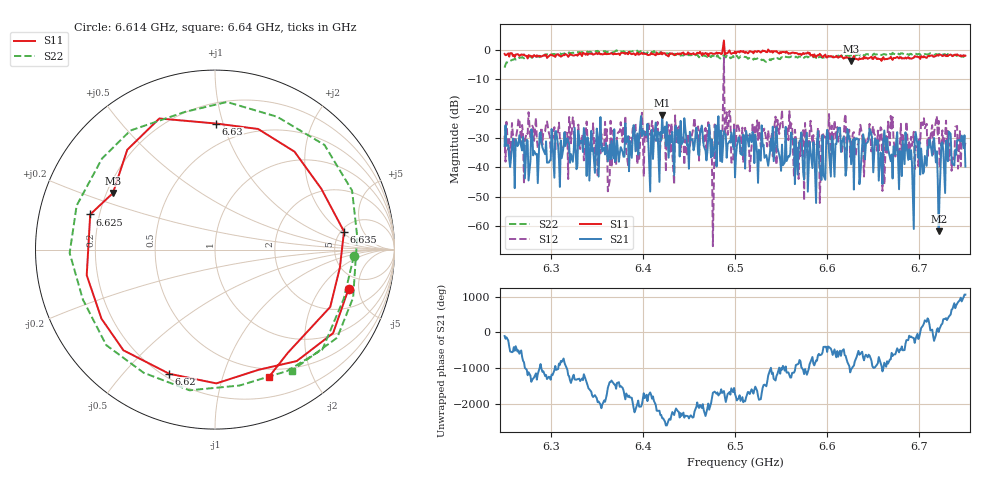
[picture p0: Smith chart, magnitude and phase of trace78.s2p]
# Hz S RI R 50
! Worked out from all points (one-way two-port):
!   401 points, 6.25 GHz to 6.75 GHz, reference 50 ohm
!   highest |S21| = -22.21 dB at 6.421 GHz (marker M1); lowest = -61.8 dB at 6.721 GHz (marker M2)
!   lowest |S11| = -3.7 dB at 6.626 GHz (marker M3), VSWR 4.71, Z = 11.3 + j12.3 ohm
!   |S11| at or under -10 dB: nowhere
!   |S22| runs from -6.0 to -0.1 dB; largest |S21 - S12| = 0.7
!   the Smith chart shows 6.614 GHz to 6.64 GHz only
!   S11 on the Smith chart (normalised r, x): 6.614 GHz: 3.53, -3.86; 6.62 GHz: 0.22, -0.67; 6.625 GHz: 0.16, +0.13; 6.63 GHz: 0.34, +0.95; 6.635 GHz: 5.30, +2.26; 6.64 GHz: 0.41, -1.43
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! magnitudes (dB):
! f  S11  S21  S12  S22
! 6.25 GHz  -1.3  -32.7  -29.2  -6.0
! 6.334 GHz  -2.1  -30.8  -28.7  -0.7
! 6.418 GHz  -1.4  -44.9  -37.7  -1.0
! 6.421 GHz  -1.5  -22.2  -29.9  -1.3
! 6.47 GHz  -1.2  -34.9  -28.0  -2.4
! 6.476 GHz  -1.3  -36.2  -66.9  -1.9
! 6.49 GHz  -1.1  -28.7  -25.2  -2.5
! 6.5 GHz  -0.5  -43.4  -32.7  -2.5
! 6.584 GHz  -1.6  -40.2  -31.7  -1.7
! 6.614 GHz  -2.2  -26.5  -28.4  -2.2
! 6.62 GHz  -2.6  -42.8  -21.8  -2.0
! 6.625 GHz  -2.8  -30.4  -36.4  -1.8
! 6.626 GHz  -3.7  -38.9  -32.3  -1.8
! 6.63 GHz  -3.1  -30.0  -35.1  -2.1
! 6.635 GHz  -2.8  -45.7  -28.4  -1.6
! 6.64 GHz  -2.3  -30.4  -43.1  -1.9
! 6.662 GHz  -3.2  -27.4  -45.8  -1.4
! 6.668 GHz  -2.8  -36.4  -32.5  -1.3
! 6.714 GHz  -1.8  -36.0  -25.6  -1.3
! 6.721 GHz  -1.9  -61.8  -24.1  -1.4
! 6.731 GHz  -2.1  -37.9  -27.2  -1.4
! 6.75 GHz  -1.9  -39.7  -31.6  -2.0
